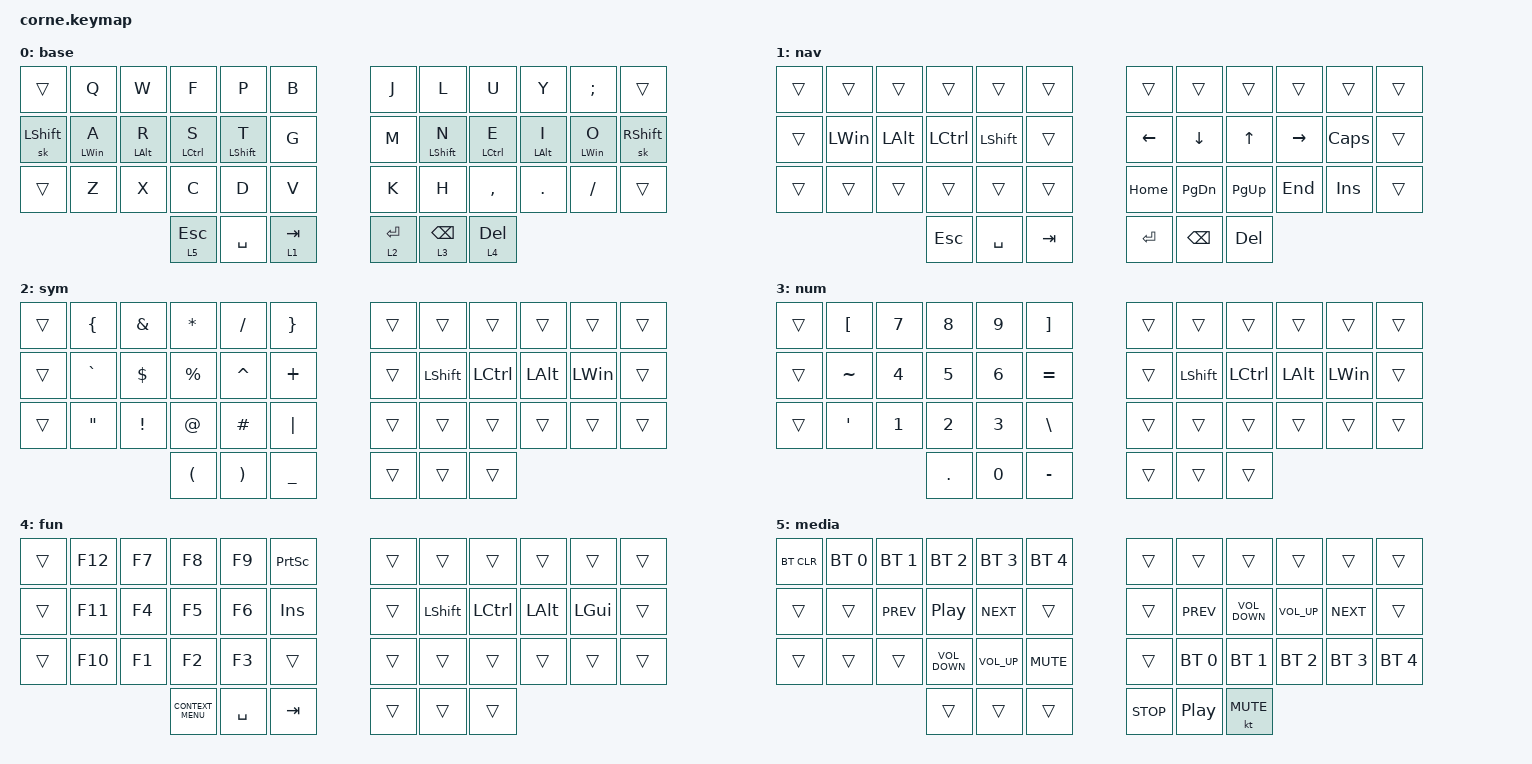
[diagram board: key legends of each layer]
#include <behaviors.dtsi>
#include <dt-bindings/zmk/bt.h>
#include <dt-bindings/zmk/keys.h>

/ {
    behaviors {
        u_mt: u_mt {
            compatible = "zmk,behavior-hold-tap";
            #binding-cells = <2>;
            tapping-term-ms = <195>;
            flavor = "tap-preferred";
            bindings = <&kp>, <&kp>;
        };

        u_lt: u_lt {
            compatible = "zmk,behavior-hold-tap";
            #binding-cells = <2>;
            tapping-term-ms = <195>;
            flavor = "tap-preferred";
            bindings = <&mo>, <&kp>;
        };
    };

    keymap {
        compatible = "zmk,keymap";

        base {
            display-name = "base";
            bindings = <
&trans      &kp Q             &kp W         &kp F           &kp P               &kp B          &kp J          &kp L               &kp U           &kp Y         &kp SEMI          &trans
&sk LSHIFT  &u_mt LEFT_WIN A  &u_mt LALT R  &u_mt LCTRL S   &u_mt LEFT_SHIFT T  &kp G          &kp M          &u_mt LEFT_SHIFT N  &u_mt LCTRL E   &u_mt LALT I  &u_mt LEFT_WIN O  &sk RSHIFT
&trans      &kp Z             &kp X         &kp C           &kp D               &kp V          &kp K          &kp H               &kp COMMA       &kp DOT       &kp SLASH         &trans
                                            &u_lt 5 ESCAPE  &kp SPACE           &u_lt 1 TAB    &u_lt 2 ENTER  &u_lt 3 BACKSPACE   &u_lt 4 DELETE
            >;
        };

        nav {
            bindings = <
&trans  &trans        &trans        &trans      &trans          &trans     &trans     &trans         &trans        &trans           &trans        &trans
&trans  &kp LEFT_WIN  &kp LEFT_ALT  &kp LCTRL   &kp LEFT_SHIFT  &trans     &kp LEFT   &kp DOWN       &kp UP_ARROW  &kp RIGHT_ARROW  &kp CAPSLOCK  &trans
&trans  &trans        &trans        &trans      &trans          &trans     &kp HOME   &kp PAGE_DOWN  &kp PAGE_UP   &kp END          &kp INSERT    &trans
                                    &kp ESCAPE  &kp SPACE       &kp TAB    &kp ENTER  &kp BACKSPACE  &kp DELETE
            >;

            label = "nav";
        };

        sym {
            bindings = <
&trans  &kp LEFT_BRACE     &kp AMPERSAND    &kp ASTERISK  &kp FSLH   &kp RIGHT_BRACE    &trans  &trans          &trans     &trans        &trans        &trans
&trans  &kp GRAVE          &kp DOLLAR       &kp PERCENT   &kp CARET  &kp PLUS           &trans  &kp LEFT_SHIFT  &kp LCTRL  &kp LEFT_ALT  &kp LEFT_WIN  &trans
&trans  &kp DOUBLE_QUOTES  &kp EXCLAMATION  &kp AT_SIGN   &kp HASH   &kp PIPE           &trans  &trans          &trans     &trans        &trans        &trans
                                            &kp LPAR      &kp RPAR   &kp UNDERSCORE     &trans  &trans          &trans
            >;

            label = "sym";
        };

        num {
            bindings = <
&trans  &kp LEFT_BRACKET  &kp N7  &kp N8      &kp N9  &kp RIGHT_BRACKET    &trans  &trans          &trans     &trans        &trans        &trans
&trans  &kp TILDE         &kp N4  &kp N5      &kp N6  &kp EQUAL            &trans  &kp LEFT_SHIFT  &kp LCTRL  &kp LEFT_ALT  &kp LEFT_WIN  &trans
&trans  &kp SQT           &kp N1  &kp N2      &kp N3  &kp BACKSLASH        &trans  &trans          &trans     &trans        &trans        &trans
                                  &kp PERIOD  &kp N0  &kp MINUS            &trans  &trans          &trans
            >;

            label = "num";
        };

        fun {
            bindings = <
&trans  &kp F12  &kp F7  &kp F8              &kp F9     &kp PRINTSCREEN    &trans  &trans     &trans     &trans    &trans    &trans
&trans  &kp F11  &kp F4  &kp F5              &kp F6     &kp INSERT         &trans  &kp LSHFT  &kp LCTRL  &kp LALT  &kp LGUI  &trans
&trans  &kp F10  &kp F1  &kp F2              &kp F3     &trans             &trans  &trans     &trans     &trans    &trans    &trans
                         &kp K_CONTEXT_MENU  &kp SPACE  &kp TAB            &trans  &trans     &trans
            >;

            label = "fun";
        };

        media {
            bindings = <
&bt BT_CLR  &bt BT_SEL 0  &bt BT_SEL 1  &bt BT_SEL 2       &bt BT_SEL 3     &bt BT_SEL 4    &trans      &trans        &trans             &trans           &trans        &trans
&trans      &trans        &kp C_PREV    &kp C_PP           &kp C_NEXT       &trans          &trans      &kp C_PREV    &kp C_VOLUME_DOWN  &kp C_VOLUME_UP  &kp C_NEXT    &trans
&trans      &trans        &trans        &kp C_VOLUME_DOWN  &kp C_VOLUME_UP  &kp K_MUTE      &trans      &bt BT_SEL 0  &bt BT_SEL 1       &bt BT_SEL 2     &bt BT_SEL 3  &bt BT_SEL 4
                                        &trans             &trans           &trans          &kp C_STOP  &kp C_PP      &kt K_MUTE
            >;

            label = "media";
        };
    };
};
